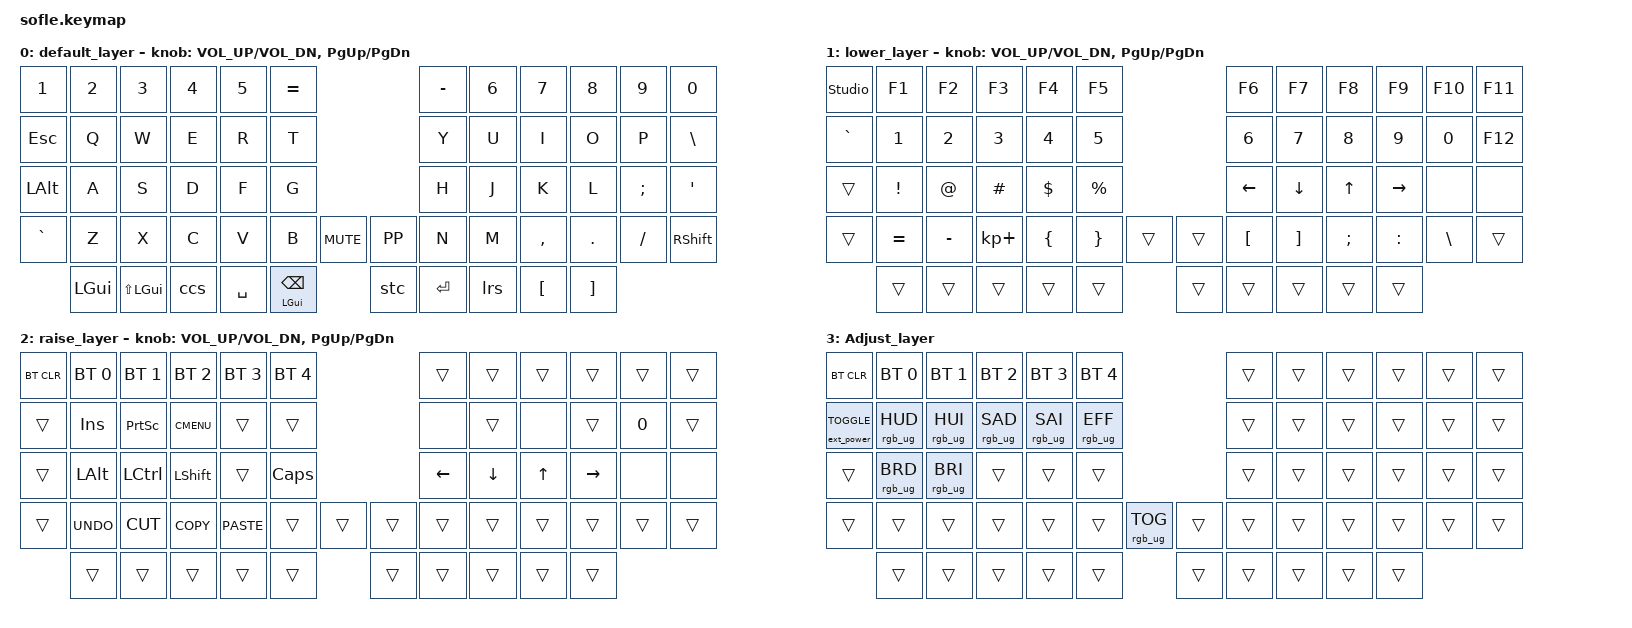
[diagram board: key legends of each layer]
/*
 * Copyright (c) 2020 The ZMK Contributors
 *
 * SPDX-License-Identifier: MIT
 */

#include <behaviors.dtsi>
#include <dt-bindings/zmk/keys.h>
#include <dt-bindings/zmk/bt.h>
#include <dt-bindings/zmk/rgb.h>
#include <dt-bindings/zmk/ext_power.h>

#define BASE 0
#define LOWER 1
#define RAISE 2
#define ADJUST 3

/ {

    behaviors {
        lrs: layers {
            compatible = "zmk,behavior-tap-dance";
            label = "LAYERS";
            #binding-cells = <0>;
            bindings = <&mo LOWER>, <&mo RAISE>, <&mo ADJUST>;
        };
        gqt: global-quick-tap {
            compatible = "zmk,behavior-hold-tap";
            label = "GLOBAL_QUICK_TAP";
            #binding-cells = <2>;
            flavor = "hold-preferred";
            tapping-term-ms = <175>;
            quick-tap-ms = <175>;
            global-quick-tap;
            bindings = <&kp>, <&kp>;
        };
        ccs: ctrl-ctrl-shift {
            compatible = "zmk,behavior-tap-dance";
            label = "CTRL_CTRL_SHIFT";
            #binding-cells = <0>;
            bindings = <&kp LCTRL>, <&kp LS(LCTRL)>;

        };
        stc: shift_tab_control {
            compatible = "zmk,behavior-tap-dance";
            label = "SHIFT_TAB_CONTROL";
            #binding-cells = <0>;
            bindings = <&gqt RSHFT TAB>, <&kp RCTRL>;
        };
    };

    keymap {
        compatible = "zmk,keymap";

        default_layer {
//        ----------------------------------------                                     ---------------------------------------------
//       |   1   |  2  |  3  |  4   |  5   |  =   |                                   |  -   |  6    |  7    |  8   |   9   |   0   |
//       |  ESC  |  Q  |  W  |  E   |  R   |  T   |                                   |  Y   |  U    |  I    |  O   |   P   |   \   |
//       |  ALT  |  A  |  S  |  D   |  F   |  G   |________                    _______|  H   |  J    |  K    |  L   |   ;   |   '   |
//       |   `   |  Z  |  X  |  C   |  V   |  B   |  MUTE  |                  |  PP   |  N   |  M    |  ,    |  .   |   /   | SHIFT |
//                     | GUI | ALT  | LGUI | SPACE|  BKSPC |                |SHIFT/TAB| RET  | CTRL  | ALT   | GUI  |
            bindings = <
        &kp N1    &kp N2 &kp N3 &kp N4 &kp N5 &kp EQUAL                      &kp MINUS &kp N6 &kp N7    &kp N8   &kp N9   &kp N0
        &kp ESC   &kp Q  &kp W  &kp E  &kp R  &kp T                          &kp Y     &kp U  &kp I     &kp O    &kp P    &kp BSLH
        &kp LALT  &kp A  &kp S  &kp D  &kp F  &kp G                          &kp H     &kp J  &kp K     &kp L    &kp SEMI &kp SQT
        &kp GRAVE &kp Z  &kp X  &kp C  &kp V  &kp B &kp C_MUTE      &kp K_PP &kp N     &kp M  &kp COMMA &kp DOT  &kp FSLH &kp RSHFT
               &kp LGUI &kp LS(LGUI) &ccs &kp SPACE &gqt LGUI BSPC  &stc     &kp RET &lrs &kp LBKT  &kp RBKT
            >;

            sensor-bindings = <&inc_dec_kp C_VOL_UP C_VOL_DN &inc_dec_kp PG_UP PG_DN>;
        };

        lower_layer {
// TODO: Some binds are waiting for shifted keycode support.
// ------------------------------------------------------------------------------------------------------------
// |       |  F1 |  F2 |  F3  |  F4  |  F5  |                   |  F6  |  F7   |  F8   |  F9  |  F10  |  F11  |
// | `     |   1 |   2 |   3  |   4  |   5  |                   |   6  |   7   |   8   |   9  |    0  |  F12  |
// |       |  !  |  @  |  #   |  $   |  %   |                   |  ^   |  &    |  *    |  (   |   )   |   |   |
// |       |  =  |  -  |  +   |  {   |  }   |        |  |       |  [   |  ]    |  ;    |  :   |   \   |       |
//               |     |      |      |      |        |  |       |      |       |       |      |
            bindings = <
&studio_unlock    &kp F1    &kp F2    &kp F3      &kp F4    &kp F5                    &kp F6    &kp F7   &kp F8          &kp F9    &kp F10   &kp F11
&kp GRAVE &kp N1    &kp N2    &kp N3      &kp N4    &kp N5                    &kp N6    &kp N7   &kp N8          &kp N9    &kp N0    &kp F12
&trans    &kp EXCL  &kp AT    &kp HASH    &kp DLLR  &kp PRCNT                 &kp LEFT  &kp DOWN &kp UP          &kp RIGHT &none     &none
&trans    &kp EQUAL &kp MINUS &kp KP_PLUS &kp LBRC  &kp RBRC  &trans   &trans &kp LBKT  &kp RBKT &kp SEMI        &kp COLON &kp BSLH  &trans
                    &trans    &trans      &trans    &trans    &trans   &trans &trans    &trans   &trans          &trans
            >;

            sensor-bindings = <&inc_dec_kp C_VOL_UP C_VOL_DN &inc_dec_kp PG_UP PG_DN>;
        };

        raise_layer {
// ------------------------------------------------------------------------------------------------------------
// |BTCLR| BT1  | BT2  |  BT3  |  BT4  |  BT5 |                |      |      |       |      |       |       |
// |     | INS  | PSCR | GUI   |       |      |                | PGUP |      |   ^   |      |       |       |
// |     | ALT  | CTRL | SHIFT |       | CAPS |                | PGDN |   <- |   v   |  ->  |  DEL  | BKSPC |
// |     | UNDO | CUT  | COPY  | PASTE |      |      |  |      |      |      |       |      |       |       |
//              |      |       |       |      |      |  |      |      |      |       |      |
            bindings = <
&bt BT_CLR &bt BT_SEL 0 &bt BT_SEL 1 &bt BT_SEL 2 &bt BT_SEL 3 &bt BT_SEL 4             &trans    &trans    &trans   &trans    &trans  &trans
&trans     &kp INS      &kp PSCRN    &kp K_CMENU  &trans       &trans                   &none     &trans    &none    &trans    &kp N0  &trans
&trans     &kp LALT     &kp LCTRL    &kp LSHFT    &trans       &kp CLCK                 &kp LEFT  &kp DOWN  &kp UP   &kp RIGHT &none   &none
&trans     &kp K_UNDO   &kp K_CUT    &kp K_COPY   &kp K_PASTE  &trans  &trans   &trans  &trans    &trans    &trans   &trans    &trans  &trans
                        &trans       &trans       &trans       &trans  &trans   &trans  &trans    &trans    &trans   &trans
            >;

            sensor-bindings = <&inc_dec_kp C_VOL_UP C_VOL_DN &inc_dec_kp PG_UP PG_DN>;
        };

// ------------------------------------------------------------------------------------------------------------
// |BTCLR | BT1   | BT2   |  BT3  |  BT4  |  BT5  |                |      |      |       |      |       |       |
// |EXTPWR|RGB_HUD|RGB_HUI|RGB_SAD|RGB_SAI|RGB_EFF|                |      |      |       |      |       |       |
// |      |RGB_BRD|RGB_BRI|       |       |       |                |      |      |       |      |       |       |
// |      |       |       |       |       |       |RGB_TOG| |      |      |      |       |      |       |       |
//                |       |       |       |       |       | |      |      |      |       |      |

        Adjust_layer {
        bindings = <
&bt BT_CLR                      &bt BT_SEL 0    &bt BT_SEL 1    &bt BT_SEL 2    &bt BT_SEL 3    &bt BT_SEL 4                                    &trans &trans &trans &trans &trans &trans
&ext_power EXT_POWER_TOGGLE_CMD &rgb_ug RGB_HUD &rgb_ug RGB_HUI &rgb_ug RGB_SAD &rgb_ug RGB_SAI &rgb_ug RGB_EFF                                 &trans &trans &trans &trans &trans &trans
&trans                           &rgb_ug RGB_BRD &rgb_ug RGB_BRI &trans           &trans           &trans                                           &trans &trans &trans &trans &trans &trans
&trans                           &trans           &trans           &trans           &trans           &trans               &rgb_ug RGB_TOG  &trans      &trans &trans &trans &trans &trans &trans
                                                &trans           &trans           &trans           &trans               &trans            &trans      &trans &trans &trans &trans
        >;
        };

    };
};
